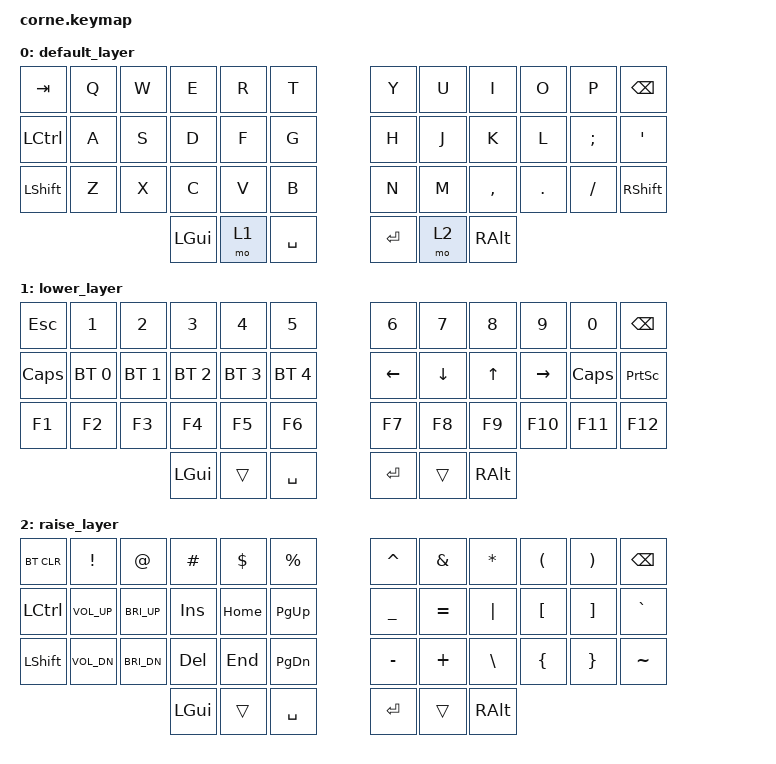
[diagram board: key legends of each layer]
/*
 * Copyright (c) 2020 The ZMK Contributors
 *
 * SPDX-License-Identifier: MIT
 */

#include <behaviors.dtsi>
#include <dt-bindings/zmk/bt.h>
#include <dt-bindings/zmk/keys.h>

/ {
    keymap {
        compatible = "zmk,keymap";

        default_layer {
            // -----------------------------------------------------------------------------------------
            // |  TAB |  Q  |  W  |  E  |  R  |  T  |   |  Y  |  U   |  I  |  O  |  P  | BSPC |
            // | CTRL |  A  |  S  |  D  |  F  |  G  |   |  H  |  J   |  K  |  L  |  ;  |  '   |
            // | SHFT |  Z  |  X  |  C  |  V  |  B  |   |  N  |  M   |  ,  |  .  |  /  | ESC  |
            //                    | GUI | LWR | SPC |   | ENT | RSE  | ALT |

            bindings = <
&kp TAB           &kp Q  &kp W  &kp E     &kp R  &kp T        &kp Y       &kp U  &kp I      &kp O    &kp P     &kp BSPC
&kp LEFT_CONTROL  &kp A  &kp S  &kp D     &kp F  &kp G        &kp H       &kp J  &kp K      &kp L    &kp SEMI  &kp SQT
&kp LEFT_SHIFT    &kp Z  &kp X  &kp C     &kp V  &kp B        &kp N       &kp M  &kp COMMA  &kp DOT  &kp FSLH  &kp RIGHT_SHIFT
                                &kp LGUI  &mo 1  &kp SPACE    &kp RETURN  &mo 2  &kp RALT
            >;
        };

        lower_layer {
            // -----------------------------------------------------------------------------------------
            // |  TAB |  1  |  2  |  3  |  4  |  5  |   |  6  |  7  |  8  |  9  |  0  | BSPC |
            // | BTCLR| BT1 | BT2 | BT3 | BT4 | BT5 |   | LFT | DWN |  UP | RGT |     |      |
            // | SHFT |     |     |     |     |     |   |     |     |     |     |     |      |
            //                    | GUI |     | SPC |   | ENT |     | ALT |

            bindings = <
&kp ESCAPE    &kp N1        &kp N2        &kp N3        &kp N4        &kp N5          &kp N6      &kp N7    &kp N8    &kp N9     &kp N0        &kp BSPC
&kp CAPSLOCK  &bt BT_SEL 0  &bt BT_SEL 1  &bt BT_SEL 2  &bt BT_SEL 3  &bt BT_SEL 4    &kp LEFT    &kp DOWN  &kp UP    &kp RIGHT  &kp CAPSLOCK  &kp PRINTSCREEN
&kp F1        &kp F2        &kp F3        &kp F4        &kp F5        &kp F6          &kp F7      &kp F8    &kp F9    &kp F10    &kp F11       &kp F12
                                          &kp LGUI      &trans        &kp SPACE       &kp RETURN  &trans    &kp RALT
            >;
        };

        raise_layer {
            // -----------------------------------------------------------------------------------------
            // |  TAB |  !  |  @  |  #  |  $  |  %  |   |  ^  |  &  |  *  |  (  |  )  | BSPC |
            // | CTRL |     |     |     |     |     |   |  -  |  =  |  [  |  ]  |  \  |  `   |
            // | SHFT |     |     |     |     |     |   |  _  |  +  |  {  |  }  | "|" |  ~   |
            //                    | GUI |     | SPC |   | ENT |     | ALT |

            bindings = <
&bt BT_CLR        &kp EXCL      &kp AT        &kp HASH    &kp DLLR  &kp PRCNT        &kp CARET       &kp AMPS   &kp ASTRK      &kp LPAR          &kp RPAR           &kp BACKSPACE
&kp LEFT_CONTROL  &kp C_VOL_UP  &kp C_BRI_UP  &kp INSERT  &kp HOME  &kp PAGE_UP      &kp UNDERSCORE  &kp EQUAL  &kp PIPE       &kp LEFT_BRACKET  &kp RIGHT_BRACKET  &kp GRAVE
&kp LEFT_SHIFT    &kp C_VOL_DN  &kp C_BRI_DN  &kp DELETE  &kp END   &kp PAGE_DOWN    &kp MINUS       &kp PLUS   &kp BACKSLASH  &kp LEFT_BRACE    &kp RIGHT_BRACE    &kp TILDE
                                              &kp LGUI    &trans    &kp SPACE        &kp RET         &trans     &kp RALT
            >;
        };
    };
};
